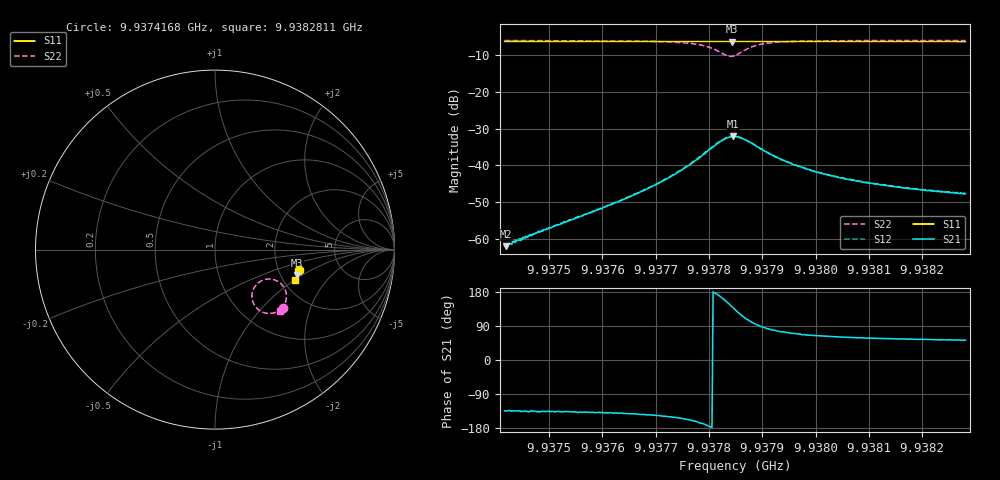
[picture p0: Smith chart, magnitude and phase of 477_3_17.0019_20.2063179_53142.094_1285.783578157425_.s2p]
#  HZ  S  RI  R  50.00
! Rohde & Schwarz Vector Network Analyzer
! Rohde-Schwarz,ZNB20-2Port,1311601062101988,3.16
! Created: UTC 3/20/2024, 11:13:26 PM
! freq[Hz]  re:S11  im:S11  re:S21  im:S21  re:S12  im:S12  re:S22  im:S22
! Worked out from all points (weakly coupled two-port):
!   401 points, 9.9374168 GHz to 9.9382811 GHz, reference 50 ohm
!   highest |S21| = -32.12 dB at 9.9378446 GHz (marker M1); lowest = -61.9 dB at 9.937419 GHz (marker M2)
!   lowest |S11| = -6.4 dB at 9.9378425 GHz (marker M3), VSWR 2.83, Z = 122 - j45.2 ohm
!   |S11| at or under -10 dB: nowhere
!   |S22| runs from -10.4 to -6.1 dB; largest |S21 - S12| = 0.0011
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9.93741681e9  0.4689 -0.1161  -0.00057 -0.000579  -0.000573 -0.000591  0.3765 -0.3246
9.93741897e9  0.4689 -0.1164  -0.000561 -0.000574  -0.000594 -0.00058  0.3762 -0.3248
9.93744058e9  0.4684 -0.1178  -0.000681 -0.000687  -0.00071 -0.000665  0.3743 -0.3266
9.93747515e9  0.4676 -0.12  -0.000863 -0.000852  -0.00084 -0.000854  0.3711 -0.3292
9.93756158e9  0.4658 -0.126  -0.00155 -0.00139  -0.00154 -0.00138  0.3609 -0.3368
9.93765017e9  0.4637 -0.1319  -0.0029 -0.0023  -0.00301 -0.00231  0.3444 -0.3465
9.93770634e9  0.462 -0.1357  -0.00484 -0.00317  -0.00497 -0.00312  0.3254 -0.3532
9.93775604e9  0.4604 -0.1392  -0.00853 -0.00385  -0.0088 -0.00375  0.2925 -0.3555
9.93779277e9  0.4588 -0.1415  -0.0144 -0.00253  -0.0149 -0.00227  0.2461 -0.3382
9.93782302e9  0.4572 -0.1427  -0.0207 0.00526  -0.0212 0.00597  0.206 -0.2679
9.93783383e9  0.4568 -0.1426  -0.021 0.0108  -0.0212 0.0116  0.2123 -0.225
9.93784247e9  0.4566 -0.1427  -0.0191 0.0152  -0.0192 0.016  0.2327 -0.1931
9.93784463e9  0.4567 -0.1428  -0.0187 0.0163  -0.0182 0.017  0.2399 -0.1864
9.93784895e9  0.4568 -0.1427  -0.0169 0.0179  -0.0166 0.0187  0.2558 -0.1755
9.93785975e9  0.457 -0.1431  -0.0117 0.0204  -0.0112 0.0212  0.2996 -0.1637
9.93787488e9  0.4573 -0.1438  -0.0052 0.0204  -0.00467 0.0207  0.3499 -0.1767
9.93790081e9  0.4575 -0.1459  0.00103 0.0163  0.00128 0.0163  0.389 -0.2192
9.93794402e9  0.4569 -0.1492  0.00348 0.0109  0.00364 0.0109  0.3981 -0.2668
9.93799372e9  0.4557 -0.1527  0.00359 0.00768  0.00375 0.00767  0.3925 -0.2936
9.93805854e9  0.4542 -0.1572  0.00324 0.00566  0.00344 0.00564  0.3842 -0.3118
9.93813848e9  0.4518 -0.1624  0.00295 0.00433  0.00302 0.00438  0.3757 -0.3251
9.93828109e9  0.448 -0.1716  0.00251 0.00325  0.00261 0.00327  0.3632 -0.3396
